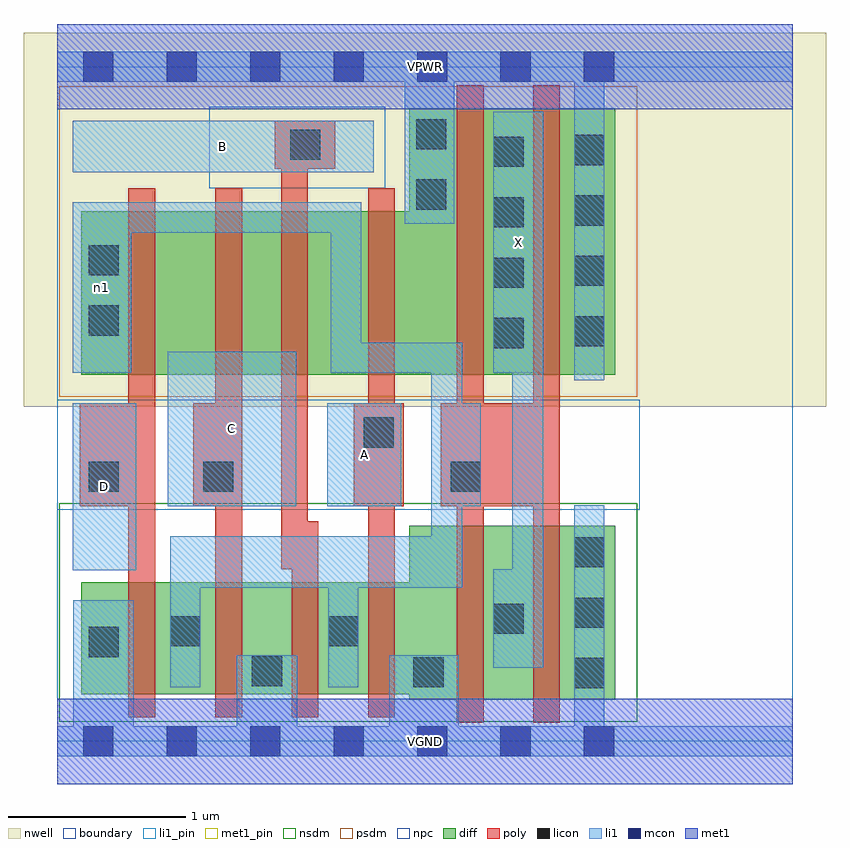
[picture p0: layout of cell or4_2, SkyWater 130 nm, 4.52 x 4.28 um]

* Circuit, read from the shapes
.subckt or4_2 A B C D VGND VPWR X n1
XM1 n1 D VGND VSUBS sky130_fd_pr__nfet_01v8 w=0.63 l=0.15
XM2 VGND C n1 VSUBS sky130_fd_pr__nfet_01v8 w=0.63 l=0.15
XM3 n1 B VGND VSUBS sky130_fd_pr__nfet_01v8 w=0.63 l=0.15
XM4 VGND A n1 VSUBS sky130_fd_pr__nfet_01v8 w=0.63 l=0.15
XM5 X n1 VGND VSUBS sky130_fd_pr__nfet_01v8 w=0.98 l=0.15 m=2
XM6 n2 D n1 n3 sky130_fd_pr__pfet_01v8 w=0.92 l=0.15
XM7 n4 C n2 n3 sky130_fd_pr__pfet_01v8 w=0.92 l=0.15
XM8 n5 B n4 n3 sky130_fd_pr__pfet_01v8 w=0.92 l=0.15
XM9 VPWR A n5 n3 sky130_fd_pr__pfet_01v8 w=0.92 l=0.15
XM10 X n1 VPWR n3 sky130_fd_pr__pfet_01v8 w=1.5 l=0.15 m=2
.ends

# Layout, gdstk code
import gdstk
lib = gdstk.Library(unit=1e-6, precision=1e-09)
def R(c, l, rs):  # rectangles x0, y0, x1, y1
    for r in rs: c.add(gdstk.rectangle(r[:2], r[2:], *l))
def A(c, l, x, y, w, h, nx, ny, dx, dy):  # array of equal rectangles
    R(c, l, [(x+i*dx, y+j*dy, x+i*dx+w, y+j*dy+h) for i in range(nx) for j in range(ny)])
nwell = (64, 20)
diff = (65, 20)
poly = (66, 20)
licon = (66, 44)
li1_pin = (67, 16)
li1 = (67, 20)
mcon = (67, 44)
met1_pin = (68, 16)
met1 = (68, 20)
nsdm = (93, 44)
psdm = (94, 20)
npc = (95, 20)
boundary = (235, 4)

or4_2 = lib.new_cell('or4_2')
R(or4_2, nwell, [(-0.19,1.885,4.33,3.99), (0,1.885,4.14,3.99)])
R(or4_2, diff, [(1.98,0.235,3.14,1.215), (0.135,0.265,3.14,0.895), (0.135,2.065,3.14,2.985), (1.98,2.065,3.14,3.565)])
R(or4_2, poly, [(2.25,0.105,2.4,3.695), (2.68,0.105,2.83,3.695), (0.4,0.135,0.55,3.115), (0.89,0.135,1.04,3.115), (1.32,0.135,1.47,1.24), (1.75,0.135,1.9,3.115), (1.26,0.97,1.41,3.495), (0.125,1.325,0.55,1.905), (0.765,1.325,1.04,1.905), (1.67,1.325,1.95,1.905), (2.16,1.325,2.83,1.905), (1.225,3.225,1.565,3.495)])
A(or4_2, licon, 2.91, 0.3, 0.17, 0.17, 1, 3, 0, 0.34)
A(or4_2, licon, 2.455, 2.215, 0.17, 0.17, 1, 4, 0, 0.34)
A(or4_2, licon, 2.91, 2.225, 0.17, 0.17, 1, 4, 0, 0.34)
R(or4_2, licon, [(2.005,0.305,2.175,0.475), (1.095,0.31,1.265,0.48), (0.175,0.475,0.345,0.645), (0.635,0.535,0.805,0.705), (1.525,0.535,1.695,0.705), (2.455,0.605,2.625,0.775), (0.175,1.405,0.345,1.575), (0.82,1.405,0.99,1.575), (2.215,1.405,2.385,1.575), (1.725,1.655,1.895,1.825), (0.175,2.285,0.345,2.455), (0.175,2.625,0.345,2.795), (2.02,2.995,2.19,3.165), (1.31,3.275,1.48,3.445), (2.02,3.335,2.19,3.505)])
R(or4_2, li1_pin, [(0.085,0.965,0.445,1.905), (0.62,1.325,1.345,2.195), (1.52,1.325,1.935,1.905), (2.455,2.075,2.735,3.545), (0.085,3.205,1.78,3.495)])
R(or4_2, li1, [(0,-0.085,4.14,0.085), (0.09,-0.085,0.43,0.795), (1.01,-0.085,1.35,0.485), (1.87,-0.085,2.26,0.485), (2.91,-0.085,3.08,1.33), (0.635,0.305,0.805,1.155), (1.525,0.305,1.695,1.155), (2.455,0.415,2.735,0.97), (2.56,0.415,2.735,3.545), (0.635,0.865,2.28,1.155), (2.105,0.865,2.28,2.245), (0.085,0.965,0.445,1.905), (0.62,1.325,1.345,2.195), (1.52,1.325,1.935,1.905), (2.105,1.325,2.385,1.905), (2.91,2.035,3.08,3.885), (0.085,2.075,0.415,3.035), (1.54,2.075,2.28,2.245), (1.54,2.075,1.71,3.035), (2.455,2.075,2.735,3.545), (0.085,2.865,1.71,3.035), (1.955,2.915,2.235,3.885), (0.085,3.205,1.78,3.495), (0,3.715,4.14,3.885)])
A(or4_2, mcon, 0.145, -0.085, 0.17, 0.17, 7, 2, 0.47, 3.8)
R(or4_2, met1_pin, [(0,-0.24,4.14,0.24), (0,3.56,4.14,4.04)])
R(or4_2, met1, [(0,-0.24,4.14,0.24), (0,3.56,4.14,4.04)])
R(or4_2, nsdm, [(0.01,0.11,3.265,1.34)])
R(or4_2, psdm, [(0.01,1.94,3.265,3.69)])
R(or4_2, npc, [(0,1.305,3.28,1.925), (0.855,3.115,1.845,3.575)])
R(or4_2, boundary, [(0,0,4.14,3.8)])
or4_2.add(gdstk.Label('A', (1.727,1.615), layer=67, texttype=5))
or4_2.add(gdstk.Label('B', (0.932,3.35), layer=67, texttype=5))
or4_2.add(gdstk.Label('C', (0.982,1.76), layer=67, texttype=5))
or4_2.add(gdstk.Label('D', (0.265,1.435), layer=67, texttype=5))
or4_2.add(gdstk.Label('X', (2.595,2.81), layer=67, texttype=5))
or4_2.add(gdstk.Label('n1', (0.25,2.555), layer=67, texttype=5))
or4_2.add(gdstk.Label('VPWR', (2.07,3.8), layer=68, texttype=5))
or4_2.add(gdstk.Label('VGND', (2.07,0), layer=68, texttype=5))
or4_2.add(gdstk.Label('A', (1.727,1.615), layer=67, texttype=16))
or4_2.add(gdstk.Label('B', (0.932,3.35), layer=67, texttype=16))
or4_2.add(gdstk.Label('C', (0.982,1.76), layer=67, texttype=16))
or4_2.add(gdstk.Label('D', (0.265,1.435), layer=67, texttype=16))
or4_2.add(gdstk.Label('X', (2.595,2.81), layer=67, texttype=16))
or4_2.add(gdstk.Label('VPWR', (2.07,3.8), layer=68, texttype=16))
or4_2.add(gdstk.Label('VGND', (2.07,0), layer=68, texttype=16))

lib.write_gds('or4_2.gds')
